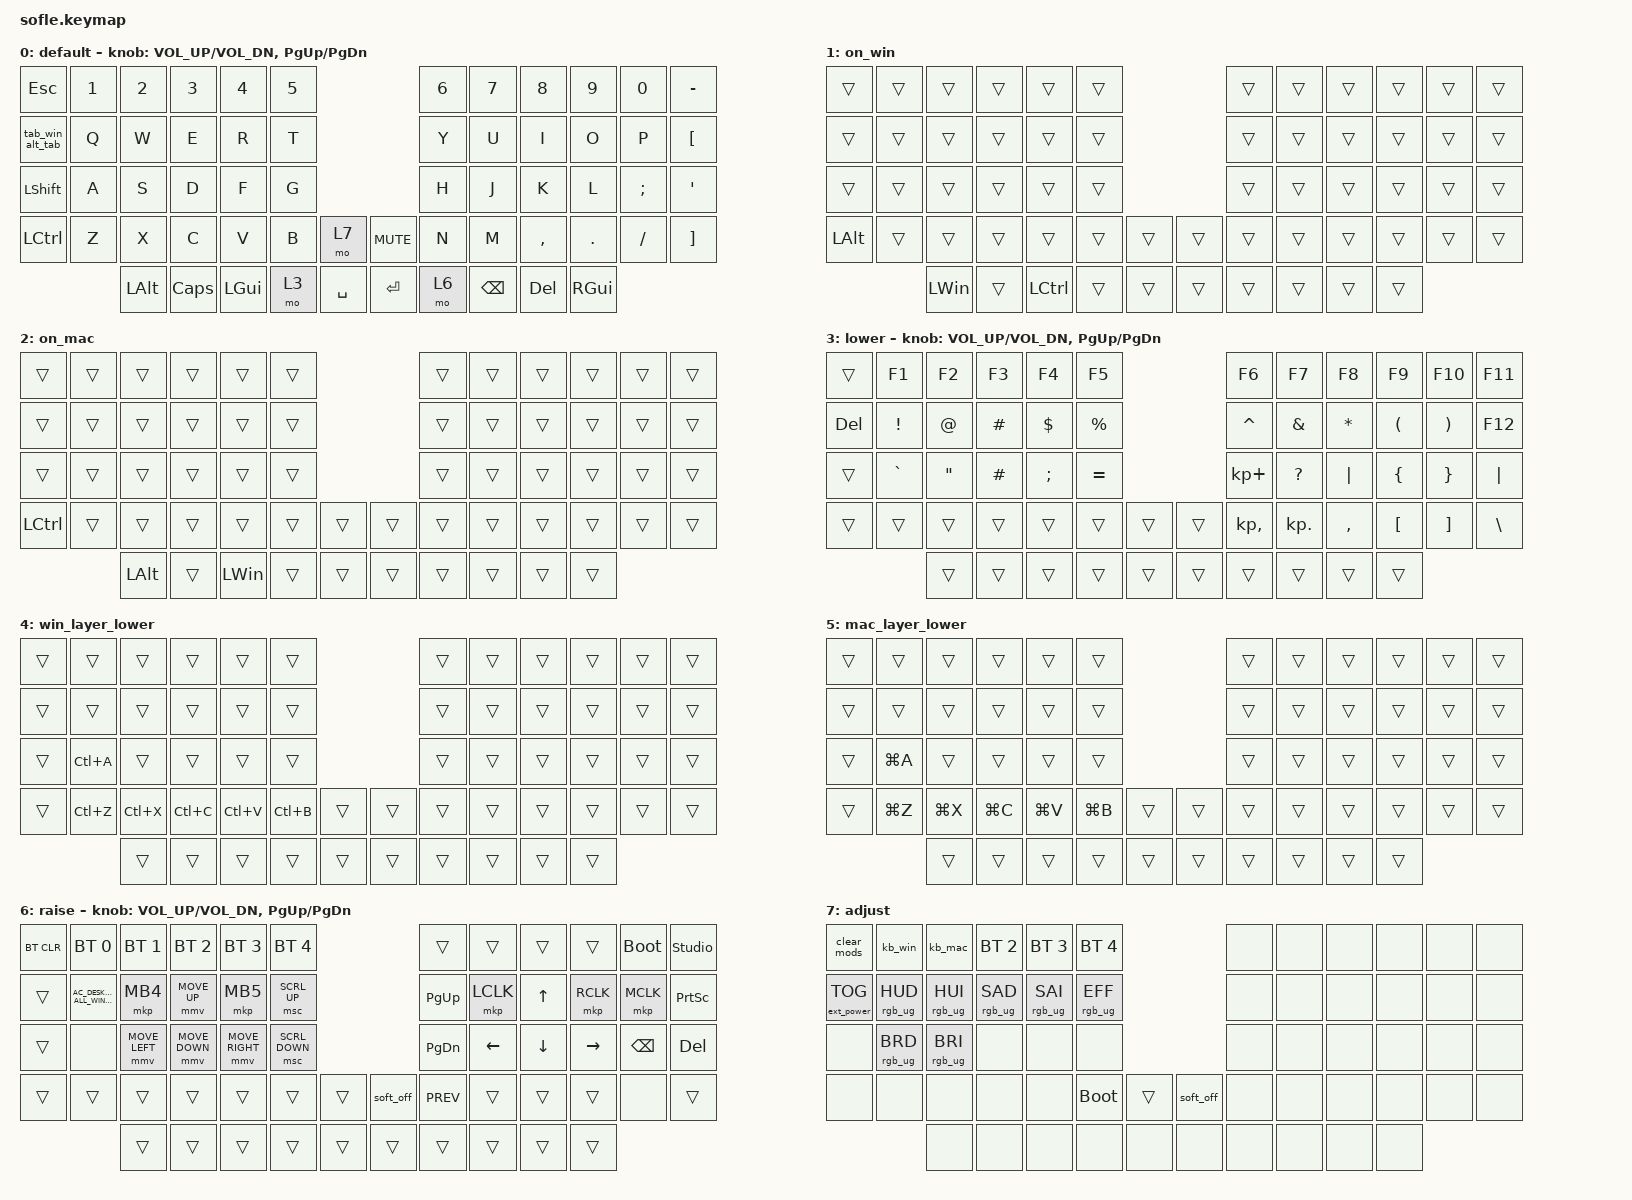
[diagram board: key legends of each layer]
/*
 * Copyright (c) 2020 The ZMK Contributors
 *
 * SPDX-License-Identifier: MIT
 */

/* Pointing (mouse move / scroll): stock ZMK defaults are 600 / 10; values below override them. */
#define ZMK_POINTING_DEFAULT_MOVE_VAL 1200
#define ZMK_POINTING_DEFAULT_SCRL_VAL 20

#include <behaviors.dtsi>
#include <dt-bindings/zmk/bt.h>
#include <dt-bindings/zmk/ext_power.h>
#include <dt-bindings/zmk/keys.h>
#include <dt-bindings/zmk/modifiers.h>
#include <dt-bindings/zmk/pointing.h>
#include <dt-bindings/zmk/rgb.h>

/*
 * Layer indices (order in this keymap block):
 *  0 default_layer      4 win_layer_lower   (if-layers <3 1> -> 4)
 *  1 on_win             5 mac_layer_lower   (if-layers <3 2> -> 5)
 *  2 on_mac             6 win_raise_layer
 *  3 base_lower         7 set_layer (adjust; if-layers <3 6> -> 7)
 * &mo 3 = base_lower, &mo 6 = win_raise_layer, &mo 7 = set_layer (direct).
 */

/ {
    behaviors {
        /*
         * Ctrl+Tab -> Alt+Tab cycling (Windows task switcher):
         * &kp LA(TAB) releases Alt after each tap, so repeated Tab does not cycle.
         * Tri-state swapper: 1st tap toggles LALT on + Tab; further taps are Tab only;
         * interrupt toggles LALT off. timeout-ms ends the sequence if stuck.
         * ignored-key-positions: default_layer LEFT_SHIFT (24), LCTRL (36) so Shift+Tab / Ctrl do not end the sequence early.
         */
        win_alt_tab_swap: win_alt_tab_swap {
            compatible = "zmk,behavior-tri-state";
            #binding-cells = <0>;
            bindings = <&kt LALT>, <&kp TAB>, <&kt LALT>;
            ignored-key-positions = <24 36>;
            timeout-ms = <2000>;
        };

        tab_win_alt_tab: tab_win_alt_tab {
            compatible = "zmk,behavior-mod-morph";
            #binding-cells = <0>;
            bindings = <&kp TAB>, <&win_alt_tab_swap>;
            mods = <(MOD_LCTL)>;
        };
    };

    // Conditional layers: win/mac lower variants; lower (3) + raise (6) -> adjust (7).

    conditional_layers {
        compatible = "zmk,conditional-layers";

        // base_lower (3) + on_win (1) -> win_layer_lower (4)
        win_lower {
            if-layers = <3 1>;
            then-layer = <4>;
        };

        // base_lower (3) + on_mac (2) -> mac_layer_lower (5)
        mac_lower {
            if-layers = <3 2>;
            then-layer = <5>;
        };

        // base_lower (3) + win_raise_layer (6) -> set_layer (7)
        lower_raise_adjust {
            if-layers = <3 6>;
            then-layer = <7>;
        };
    };

    macros {
        // BT profile 0 + layer on_win (1)
        kb_win: kb_mod {
            compatible = "zmk,behavior-macro";
            #binding-cells = <0>;
            wait-ms = <15>;
            tap-ms = <15>;
            bindings = <&bt BT_SEL 0 &to 1>;
            label = "KB_MOD";
        };

        // BT profile 1 + layer on_mac (2)
        kb_mac: kb_mac {
            compatible = "zmk,behavior-macro";
            #binding-cells = <0>;
            wait-ms = <15>;
            tap-ms = <15>;
            bindings = <&bt BT_SEL 1 &to 2>;
            label = "KB_MAC";
        };

        // Return to default layer (0)
        clear_mods: clear_mods {
            compatible = "zmk,behavior-macro";
            #binding-cells = <0>;
            bindings = <&to 0>;
            label = "CLEAR_MODS";
        };
    };

    keymap {
        compatible = "zmk,keymap";

        default_layer {
            display-name = "default";

            // Row 0: ESC | 1-5 | 6-0 | MINUS
            // Row 1: Tab (LCtrl+Tab sends Alt+Tab) | Q-P | [
            // Row 2: Shift | A-L | ; '
            // Row 3: LCtrl | Z-B | mo ADJUST | C_MUTE | N-M | , . / | ]
            // Thumb: LAlt | Caps | LGUI | Lower | Space | Enter | Raise | Bspc | Del | RGUI

            bindings = <
&kp ESC         &kp N1  &kp N2        &kp N3    &kp N4    &kp N5                           &kp N6  &kp N7         &kp N8     &kp N9    &kp N0    &kp MINUS
&tab_win_alt_tab &kp Q   &kp W         &kp E     &kp R     &kp T                            &kp Y   &kp U          &kp I      &kp O     &kp P     &kp LEFT_BRACKET
&kp LEFT_SHIFT  &kp A   &kp S         &kp D     &kp F     &kp G                            &kp H   &kp J          &kp K      &kp L     &kp SEMI  &kp SQT
&kp LCTRL       &kp Z   &kp X         &kp C     &kp V     &kp B   &mo 7        &kp C_MUTE  &kp N   &kp M          &kp COMMA  &kp DOT   &kp FSLH  &kp RBKT
                        &kp LEFT_ALT  &kp CLCK  &kp LGUI  &mo 3   &kp SPACE    &kp RET     &mo 6   &kp BACKSPACE  &kp DEL    &kp RGUI
            >;

            sensor-bindings =
                <&inc_dec_kp C_VOL_UP C_VOL_DN>,
                <&inc_dec_kp PG_UP PG_DN>;
        };

        // Windows-oriented modifiers on bottom row; other keys fall through to default_layer.
        on_win {
            bindings = <
&trans        &trans  &trans    &trans  &trans    &trans                    &trans  &trans  &trans  &trans  &trans  &trans
&trans        &trans  &trans    &trans  &trans    &trans                    &trans  &trans  &trans  &trans  &trans  &trans
&trans        &trans  &trans    &trans  &trans    &trans                    &trans  &trans  &trans  &trans  &trans  &trans
&kp LEFT_ALT  &trans  &trans    &trans  &trans    &trans  &trans    &trans  &trans  &trans  &trans  &trans  &trans  &trans
                      &kp LWIN  &trans  &kp LCTRL &trans  &trans    &trans  &trans  &trans  &trans  &trans
            >;
        };

        // macOS-oriented modifiers on bottom row; other keys fall through to default_layer.
        on_mac {
            bindings = <
&trans     &trans  &trans    &trans  &trans        &trans                    &trans  &trans  &trans  &trans  &trans  &trans
&trans     &trans  &trans    &trans  &trans        &trans                    &trans  &trans  &trans  &trans  &trans  &trans
&trans     &trans  &trans    &trans  &trans        &trans                    &trans  &trans  &trans  &trans  &trans  &trans
&kp LCTRL  &trans  &trans    &trans  &trans        &trans  &trans    &trans  &trans  &trans  &trans  &trans  &trans  &trans
                   &kp LALT  &trans  &kp LEFT_WIN  &trans  &trans    &trans  &trans  &trans  &trans  &trans
            >;
        };

        // Lower: F-keys row, symbols, numpad-style parens/plus on some keys (see bindings).
        base_lower {
            display-name = "lower";
            bindings = <
&trans   &kp F1     &kp F2             &kp F3     &kp F4         &kp F5                       &kp F6        &kp F7      &kp F8     &kp F9                   &kp F10                   &kp F11
&kp DEL  &kp EXCL   &kp AT_SIGN        &kp POUND  &kp DOLLAR     &kp PRCNT                    &kp CARET     &kp AMPS    &kp STAR   &kp LPAR  &kp RPAR  &kp F12
&trans   &kp GRAVE  &kp DOUBLE_QUOTES  &kp POUND  &kp SEMICOLON  &kp EQUAL                    &kp KP_PLUS   &kp QMARK   &kp PIPE   &kp LBRC                 &kp RBRC                  &kp PIPE
&trans   &trans     &trans             &trans     &trans         &trans     &trans    &trans  &kp KP_COMMA  &kp KP_DOT  &kp COMMA  &kp LBKT                 &kp RBKT                  &kp BSLH
                    &trans             &trans     &trans         &trans     &trans    &trans  &trans        &trans      &trans     &trans
            >;

            sensor-bindings =
                <&inc_dec_kp C_VOL_UP C_VOL_DN>,
                <&inc_dec_kp PG_UP PG_DN>;
        };

        // Shown when lower (3) + on_win (1): Ctrl+Z/X/C/V/B undo/cut/copy/paste; A = select all.
        win_layer_lower {
            bindings = <
&trans  &trans     &trans     &trans     &trans     &trans                       &trans  &trans  &trans  &trans  &trans  &trans
&trans  &trans     &trans     &trans     &trans     &trans                       &trans  &trans  &trans  &trans  &trans  &trans
&trans  &kp LC(A)  &trans     &trans     &trans     &trans                       &trans  &trans  &trans  &trans  &trans  &trans
&trans  &kp LC(Z)  &kp LC(X)  &kp LC(C)  &kp LC(V)  &kp LC(B)  &trans    &trans  &trans  &trans  &trans  &trans  &trans  &trans
                   &trans     &trans     &trans     &trans     &trans    &trans  &trans  &trans  &trans  &trans
            >;
        };

        // Shown when lower (3) + on_mac (2): Cmd+Z/X/C/V/B; A = select all.
        mac_layer_lower {
            bindings = <
&trans  &trans     &trans     &trans     &trans     &trans                       &trans  &trans  &trans  &trans  &trans  &trans
&trans  &trans     &trans     &trans     &trans     &trans                       &trans  &trans  &trans  &trans  &trans  &trans
&trans  &kp LG(A)  &trans     &trans     &trans     &trans                       &trans  &trans  &trans  &trans  &trans  &trans
&trans  &kp LG(Z)  &kp LG(X)  &kp LG(C)  &kp LG(V)  &kp LG(B)  &trans    &trans  &trans  &trans  &trans  &trans  &trans  &trans
                   &trans     &trans     &trans     &trans     &trans    &trans  &trans  &trans  &trans  &trans
            >;
        };

        win_raise_layer {
            display-name = "raise";

            // Row 0: BT_CLR, BT_SEL 0-4, trans x3, bootloader, studio_unlock
            // Row 1: trans, Mission Control, mouse / pointer / scroll, PgUp, clicks, arrows, PrtSc
            // Row 2: trans, none, pointer move + scroll, PgDn, arrows, Bspc, Del
            // Row 3: trans; soft_off; C_PREV; inner keys trans/none

            bindings = <
&bt BT_CLR  &bt BT_SEL 0                       &bt BT_SEL 1    &bt BT_SEL 2    &bt BT_SEL 3     &bt BT_SEL 4                         &trans      &trans     &trans    &trans     &bootloader    &studio_unlock
&trans      &kp C_AC_DESKTOP_SHOW_ALL_WINDOWS  &mkp MB4        &mmv MOVE_UP    &mkp MB5         &msc SCRL_UP                         &kp PG_UP   &mkp LCLK  &kp UP    &mkp RCLK  &mkp MCLK      &kp PRINTSCREEN
&trans      &none                              &mmv MOVE_LEFT  &mmv MOVE_DOWN  &mmv MOVE_RIGHT  &msc SCRL_DOWN                       &kp PG_DN   &kp LEFT   &kp DOWN  &kp RIGHT  &kp BACKSPACE  &kp DELETE
&trans      &trans                             &trans          &trans          &trans           &trans          &trans    &soft_off  &kp C_PREV  &trans     &trans    &trans     &none          &trans
                                               &trans          &trans          &trans           &trans          &trans    &trans     &trans      &trans     &trans    &trans
            >;

            sensor-bindings =
                <&inc_dec_kp C_VOL_UP C_VOL_DN>,
                <&inc_dec_kp PG_UP PG_DN>;
        };

        set_layer {
            // Adjust: clear + kb_win/kb_mac + BT 2-4 | ext power + RGB | RGB brightness | bootloader / soft off
            display-name = "adjust";
            bindings = <
&clear_mods        &kb_win          &kb_mac          &bt BT_SEL 2     &bt BT_SEL 3     &bt BT_SEL 4                          &none  &none  &none  &none  &none  &none
&ext_power EP_TOG  &rgb_ug RGB_HUD  &rgb_ug RGB_HUI  &rgb_ug RGB_SAD  &rgb_ug RGB_SAI  &rgb_ug RGB_EFF                       &none  &none  &none  &none  &none  &none
&none              &rgb_ug RGB_BRD  &rgb_ug RGB_BRI  &none            &none            &none                                 &none  &none  &none  &none  &none  &none
&none              &none            &none            &none            &none            &bootloader      &trans    &soft_off  &none  &none  &none  &none  &none  &none
                                    &none            &none            &none            &none            &none     &none      &none  &none  &none  &none
            >;
        };
    };
};
